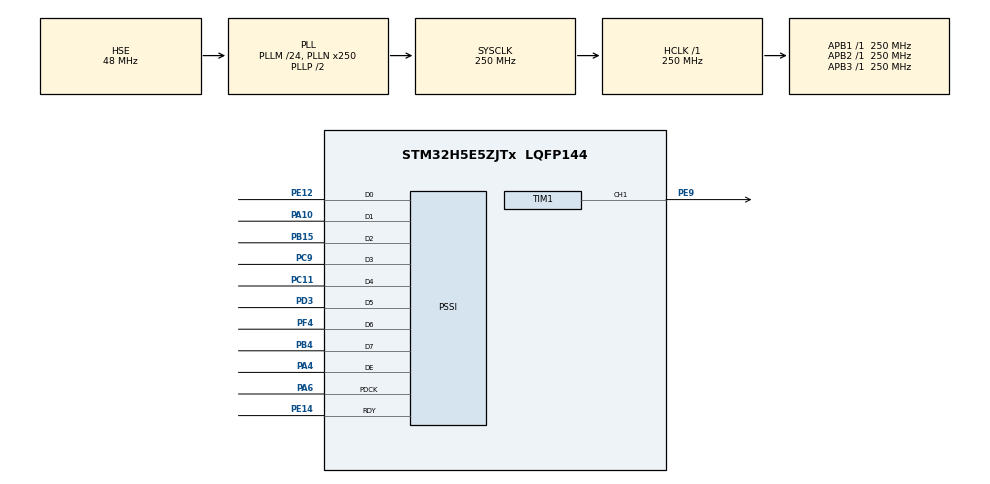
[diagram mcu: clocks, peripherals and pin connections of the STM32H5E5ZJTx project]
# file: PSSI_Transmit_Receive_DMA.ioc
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BOOTPATH.BootPathName=LEGACY
BOOTPATH.UserSelectedBootPath=LEGACY
CORTEX_M33_NS.userName=CORTEX_M33
GPDMA1.DESTDATAWIDTH_GPDMACH0=DMA_DEST_DATAWIDTH_WORD
GPDMA1.DESTDATAWIDTH_GPDMACH1=DMA_DEST_DATAWIDTH_WORD
GPDMA1.DESTINC_GPDMACH0=DMA_DINC_INCREMENTED
GPDMA1.DIRECTION_GPDMACH0=DMA_PERIPH_TO_MEMORY
GPDMA1.DIRECTION_GPDMACH1=DMA_MEMORY_TO_PERIPH
GPDMA1.IPHANDLE_GPDMACH0-SIMPLEREQUEST_GPDMACH0=__NULL
GPDMA1.IPHANDLE_GPDMACH1-SIMPLEREQUEST_GPDMACH1=__NULL
GPDMA1.PRIORITY_GPDMACH0=DMA_LOW_PRIORITY_HIGH_WEIGHT
GPDMA1.PRIORITY_GPDMACH1=DMA_LOW_PRIORITY_HIGH_WEIGHT
GPDMA1.REQUEST_GPDMACH0=GPDMA1_REQUEST_DCMI_PSSIRX
GPDMA1.REQUEST_GPDMACH1=GPDMA1_REQUEST_DCMI_PSSITX
GPDMA1.SRCDATAWIDTH_GPDMACH0=DMA_SRC_DATAWIDTH_WORD
GPDMA1.SRCDATAWIDTH_GPDMACH1=DMA_SRC_DATAWIDTH_WORD
GPDMA1.SRCINC_GPDMACH1=DMA_SINC_INCREMENTED
Mcu.Family=STM32H5
Mcu.Name=STM32H5E5ZJTx
Mcu.Package=LQFP144
NVIC.DCMI_PSSI_IRQn=true\:0\:0\:false\:false\:true\:true\:true\:true
NVIC.GPDMA1_Channel0_IRQn=true\:0\:0\:false\:false\:true\:false\:true\:true
NVIC.GPDMA1_Channel1_IRQn=true\:0\:0\:false\:false\:true\:true\:true\:true
NVIC.PriorityGroup=NVIC_PRIORITYGROUP_4
PA10.GPIO_PuPd=GPIO_PULLUP
PA10.GPIO_Speed=GPIO_SPEED_FREQ_VERY_HIGH
PA10.Mode=PSSI_8
PA10.Signal=PSSI_D1
PA4.GPIO_PuPd=GPIO_PULLUP
PA4.GPIO_Speed=GPIO_SPEED_FREQ_VERY_HIGH
PA4.Mode=PSSI_8
PA4.Signal=PSSI_DE
PA6.GPIO_PuPd=GPIO_NOPULL
PA6.GPIO_Speed=GPIO_SPEED_FREQ_VERY_HIGH
PA6.Mode=PSSI_8
PA6.Signal=PSSI_PDCK
PB15.GPIO_PuPd=GPIO_PULLUP
PB15.GPIO_Speed=GPIO_SPEED_FREQ_VERY_HIGH
PB15.Mode=PSSI_8
PB15.Signal=PSSI_D2
PB4\ (NJTRST).GPIO_PuPd=GPIO_PULLUP
PB4\ (NJTRST).GPIO_Speed=GPIO_SPEED_FREQ_VERY_HIGH
PB4\ (NJTRST).Mode=PSSI_8
PB4\ (NJTRST).Signal=PSSI_D7
PC11.GPIO_PuPd=GPIO_PULLUP
PC11.GPIO_Speed=GPIO_SPEED_FREQ_VERY_HIGH
PC11.Mode=PSSI_8
PC11.Signal=PSSI_D4
PC9.GPIO_PuPd=GPIO_PULLUP
PC9.GPIO_Speed=GPIO_SPEED_FREQ_VERY_HIGH
PC9.Mode=PSSI_8
PC9.Signal=PSSI_D3
PD3.GPIO_PuPd=GPIO_PULLUP
PD3.GPIO_Speed=GPIO_SPEED_FREQ_VERY_HIGH
PD3.Mode=PSSI_8
PD3.Signal=PSSI_D5
PE12.GPIO_PuPd=GPIO_PULLUP
PE12.GPIO_Speed=GPIO_SPEED_FREQ_VERY_HIGH
PE12.Mode=PSSI_8
PE12.Signal=PSSI_D0
PE14.GPIO_PuPd=GPIO_PULLUP
PE14.GPIO_Speed=GPIO_SPEED_FREQ_VERY_HIGH
PE14.Mode=PSSI_8
PE14.Signal=PSSI_RDY
PE9.GPIO_PuPd=GPIO_PULLUP
PE9.GPIO_Speed=GPIO_SPEED_FREQ_VERY_HIGH
PE9.Signal=S_TIM1_CH1
PF4.GPIO_PuPd=GPIO_PULLUP
PF4.GPIO_Speed=GPIO_SPEED_FREQ_VERY_HIGH
PF4.Mode=PSSI_8
PF4.Signal=PSSI_D6
PH0-OSC_IN(PH0).Mode=HSE-External-Oscillator
PH0-OSC_IN(PH0).Signal=RCC_OSC_IN
PH1-OSC_OUT(PH1).Mode=HSE-External-Oscillator
PH1-OSC_OUT(PH1).Signal=RCC_OSC_OUT
PSSI.BusWidth=HAL_PSSI_8LINES
PSSI.ControlSignal=HAL_PSSI_DE_ENABLE
PSSI.DataWidth=HAL_PSSI_32BITS
ProjectManager.HeapSize=0x200
ProjectManager.StackSize=0x400
ProjectManager.TargetToolchain=EWARM V9.20
RCC.ADCFreq_Value=250000000
RCC.AHBFreq_Value=250000000
RCC.APB1Freq_Value=250000000
RCC.APB1TimFreq_Value=250000000
RCC.APB2Freq_Value=250000000
RCC.APB2TimFreq_Value=250000000
RCC.APB3Freq_Value=250000000
RCC.CSI_VALUE=4000000
RCC.CortexFreq_Value=250000000
RCC.EPOD_VALUE=48000000
RCC.HCLKFreq_Value=250000000
RCC.HSE_VALUE=48000000
RCC.HSI48_VALUE=48000000
RCC.HSI_VALUE=64000000
RCC.LSE_VALUE=32768
RCC.LSIRC_VALUE=32000
RCC.PLLM=24
RCC.PLLN=250
RCC.PLLSourceVirtual=RCC_PLL1_SOURCE_HSE
RCC.SYSCLKFreq_VALUE=250000000
RCC.SYSCLKSource=RCC_SYSCLKSOURCE_PLLCLK
RCC.USBFreq_Value=258000000
RCC.VCOOutputFreq_Value=500000000
SH.S_TIM1_CH1.0=TIM1_CH1,PWM Generation1 CH1
TIM1.Channel-PWM\ Generation1\ CH1=TIM_CHANNEL_1
TIM1.PeriodNoDither=999
TIM1.Prescaler=11
TIM1.PulseNoDither_1=499
VP_BOOTPATH_VS_BOOTPATH.Mode=BP_Activate
VP_CORTEX_M33_NS_VS_Hclk.Mode=Hclk_Mode
VP_GPDMA1_VS_GPDMACH0.Mode=SIMPLEREQUEST_GPDMACH0
VP_GPDMA1_VS_GPDMACH1.Mode=SIMPLEREQUEST_GPDMACH1
VP_ICACHE_VS_ICACHE.Mode=DefaultMode
VP_PWR_VS_LPOM.Mode=PowerOptimisation
VP_PWR_VS_SECSignals.Mode=Security/Privilege
board=custom

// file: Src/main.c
/* USER CODE BEGIN Header */
/**
  ******************************************************************************
  * @file           : main.c
  * @brief          : Main program body
  ******************************************************************************
  * @attention
  *
  * Copyright (c) 2025 STMicroelectronics.
  * All rights reserved.
  *
  * This software is licensed under terms that can be found in the LICENSE file
  * in the root directory of this software component.
  * If no LICENSE file comes with this software, it is provided AS-IS.
  *
  ******************************************************************************
  */
/* USER CODE END Header */
#include "main.h"

/* USER CODE BEGIN Includes */
#include "string.h"
#include "stdio.h"
/* USER CODE END Includes */

/* USER CODE BEGIN PD */
//#define MASTER_BOARD
/* USER CODE END PD */

PSSI_HandleTypeDef hpssi;
DMA_HandleTypeDef handle_GPDMA1_Channel1;
DMA_HandleTypeDef handle_GPDMA1_Channel0;

TIM_HandleTypeDef htim1;

/* USER CODE BEGIN PV */

uint32_t Request_received = 0 ;
uint32_t data_cmp = 0 ;
uint32_t i;
__IO uint32_t PSSI_HAL_PSSI_TransmitComplete_count = 0;
__IO uint32_t PSSI_HAL_PSSI_ReceiveComplete_count = 0;
__IO uint32_t PSSI_HAL_PSSI_ErrorCallback_count = 0;

#ifndef MASTER_BOARD
char     pData8_S_TRSMT[64] ="Hello from Slave";  /* Data to transmit from Slave */
char     pData8_S_RCV[64];
#else
char     pData8_M_RCV[64];
char     pData8_M_TRSMT[64]; /* Data to transmit from Master */
#endif
/* USER CODE END PV */

void SystemClock_Config(void);
static void MX_GPIO_Init(void);
static void MX_GPDMA1_Init(void);
static void MX_ICACHE_Init(void);
static void MX_PSSI_Init(void);
static void MX_TIM1_Init(void);

/* USER CODE BEGIN 0 */
void HAL_PSSI_TxCpltCallback(PSSI_HandleTypeDef *hpssi);
void HAL_PSSI_RxCpltCallback(PSSI_HandleTypeDef *hpssi);
void HAL_PSSI_ErrorCallback(PSSI_HandleTypeDef *hpssi);
#ifdef MASTER_BOARD
static void CLK_On(void);
static void CLK_Off(void);
static uint32_t Fetch_Slave_Request(char Received_Buffer[64]);
#endif /*MASTER_BOARD*/
/* USER CODE END 0 */

int main(void)
{

  /* MCU Configuration--------------------------------------------------------*/

  /* Reset of all peripherals, Initializes the Flash interface and the Systick. */
  HAL_Init();

  /* Configure the system clock */
  SystemClock_Config();

  /* USER CODE BEGIN SysInit */
  BSP_LED_Init(LED_GREEN);
  BSP_LED_Init(LED_RED);
  BSP_LED_Init(LED_BLUE);
  /* USER CODE END SysInit */

  /* Initialize all configured peripherals */
  MX_GPIO_Init();
  MX_GPDMA1_Init();
  MX_ICACHE_Init();
  MX_PSSI_Init();
  MX_TIM1_Init();
  /* USER CODE BEGIN 2 */

#ifdef MASTER_BOARD

  CLK_On();
  /* Turn LED 1 ON: Receive is ongoing */
  BSP_LED_On(LED_GREEN);

  if(HAL_PSSI_Receive_DMA(&hpssi, (uint32_t*)pData8_M_RCV , sizeof(pData8_M_RCV))!= HAL_OK)
  {
    Error_Handler();
  }

  while(PSSI_HAL_PSSI_ReceiveComplete_count != 1)
  {
    /* wait until receiving data is complete */
  }

  if(Fetch_Slave_Request(pData8_M_RCV) != 1)
  {
    Error_Handler();
  }

  /* Turn LED 3 ON: Transmit is ongoing */
  BSP_LED_On(LED_BLUE);
  HAL_Delay(20);

  /* Start transmitting the received & modified data */
  if(HAL_PSSI_Transmit_DMA(&hpssi, (uint32_t*)pData8_M_TRSMT, sizeof(pData8_M_TRSMT))!= HAL_OK)
  {
    Error_Handler();
  }

  while(PSSI_HAL_PSSI_TransmitComplete_count != 1)
  {
    /* wait until transmit data is complete */
  }

  HAL_Delay(100);

  CLK_Off();

#else

  /*PSSI slave Part*/

  /* Turn LED 3 ON: Transmit is ongoing */
  BSP_LED_On(LED_BLUE);

  /* Start transmitting the data */
  if(HAL_PSSI_Transmit_DMA(&hpssi, (uint32_t*)(pData8_S_TRSMT), sizeof(pData8_S_TRSMT))!= HAL_OK)
  {
    Error_Handler();
  }

  while(PSSI_HAL_PSSI_TransmitComplete_count != 1)
  {
    /* wait until transmit data is complete */
  }

  /* Turn LED 1 ON: Receive is ongoing */
  BSP_LED_On(LED_GREEN);

  HAL_Delay(2);
  /* Start receiving the data */
  if(HAL_PSSI_Receive_DMA(&hpssi, (uint32_t*)(pData8_S_RCV), sizeof(pData8_S_RCV))!= HAL_OK)
  {
    Error_Handler();
  }

  while(PSSI_HAL_PSSI_ReceiveComplete_count != 1)
  {
    /* wait until receiving data is complete */
  }

  /*********************************************************************************************/

  /* Check first that the transmitted data is received */
  for(i = 0; i < strlen(pData8_S_TRSMT) ;i++)
  {
    if(pData8_S_TRSMT[i] != pData8_S_RCV[i])
    {
      data_cmp++;
      break;
    }
  }

  /*if OK , check then, that the Master has modified the transmitted data*/
  if((data_cmp == 0) && (strstr(pData8_S_RCV," Master") == 0))
  {
    Error_Handler();
  }
#endif
  /* USER CODE END 2 */

  /* Infinite loop */
  /* USER CODE BEGIN WHILE */
  while (1)
  {
    BSP_LED_Toggle(LED_GREEN);
    HAL_Delay(500);
    /* USER CODE END WHILE */

  }
}

void SystemClock_Config(void)
{
  RCC_OscInitTypeDef RCC_OscInitStruct = {0};
  RCC_ClkInitTypeDef RCC_ClkInitStruct = {0};

  /** Configure the main internal regulator output voltage
  */
  __HAL_PWR_VOLTAGESCALING_CONFIG(PWR_REGULATOR_VOLTAGE_SCALE0);

  while(!__HAL_PWR_GET_FLAG(PWR_FLAG_VOSRDY)) {}

  /** Initializes the RCC Oscillators according to the specified parameters
  * in the RCC_OscInitTypeDef structure.
  */
  RCC_OscInitStruct.OscillatorType = RCC_OSCILLATORTYPE_HSE;
  RCC_OscInitStruct.HSEState = RCC_HSE_ON;
  RCC_OscInitStruct.PLL.PLLState = RCC_PLL_ON;
  RCC_OscInitStruct.PLL.PLLSource = RCC_PLL1_SOURCE_HSE;
  RCC_OscInitStruct.PLL.PLLM = 24;
  RCC_OscInitStruct.PLL.PLLN = 250;
  RCC_OscInitStruct.PLL.PLLP = 2;
  RCC_OscInitStruct.PLL.PLLQ = 2;
  RCC_OscInitStruct.PLL.PLLR = 2;
  RCC_OscInitStruct.PLL.PLLRGE = RCC_PLL1_VCIRANGE_1;
  RCC_OscInitStruct.PLL.PLLVCOSEL = RCC_PLL1_VCORANGE_WIDE;
  RCC_OscInitStruct.PLL.PLLFRACN = 0;
  if (HAL_RCC_OscConfig(&RCC_OscInitStruct) != HAL_OK)
  {
    Error_Handler();
  }

  /** Initializes the CPU, AHB and APB buses clocks
  */
  RCC_ClkInitStruct.ClockType = RCC_CLOCKTYPE_HCLK|RCC_CLOCKTYPE_SYSCLK
                              |RCC_CLOCKTYPE_PCLK1|RCC_CLOCKTYPE_PCLK2
                              |RCC_CLOCKTYPE_PCLK3;
  RCC_ClkInitStruct.SYSCLKSource = RCC_SYSCLKSOURCE_PLLCLK;
  RCC_ClkInitStruct.AHBCLKDivider = RCC_SYSCLK_DIV1;
  RCC_ClkInitStruct.APB1CLKDivider = RCC_HCLK_DIV1;
  RCC_ClkInitStruct.APB2CLKDivider = RCC_HCLK_DIV1;
  RCC_ClkInitStruct.APB3CLKDivider = RCC_HCLK_DIV1;

  if (HAL_RCC_ClockConfig(&RCC_ClkInitStruct, FLASH_LATENCY_5) != HAL_OK)
  {
    Error_Handler();
  }

  /** Configure the programming delay
  */
  __HAL_FLASH_SET_PROGRAM_DELAY(FLASH_PROGRAMMING_DELAY_2);
}

static void MX_GPDMA1_Init(void)
{

  /* Peripheral clock enable */
  __HAL_RCC_GPDMA1_CLK_ENABLE();

  /* GPDMA1 interrupt Init */
    HAL_NVIC_SetPriority(GPDMA1_Channel0_IRQn, 0, 0);
    HAL_NVIC_EnableIRQ(GPDMA1_Channel0_IRQn);
    HAL_NVIC_SetPriority(GPDMA1_Channel1_IRQn, 0, 0);
    HAL_NVIC_EnableIRQ(GPDMA1_Channel1_IRQn);

}

static void MX_ICACHE_Init(void)
{

  /** Enable instruction cache (default 2-ways set associative cache)
  */
  if (HAL_ICACHE_Enable() != HAL_OK)
  {
    Error_Handler();
  }

}

static void MX_PSSI_Init(void)
{

  hpssi.Instance = PSSI;
  hpssi.Init.DataWidth = HAL_PSSI_32BITS;
  hpssi.Init.BusWidth = HAL_PSSI_8LINES;
  hpssi.Init.ControlSignal = HAL_PSSI_DE_ENABLE;
  hpssi.Init.ClockPolarity = HAL_PSSI_FALLING_EDGE;
  hpssi.Init.DataEnablePolarity = HAL_PSSI_DEPOL_ACTIVE_LOW;
  hpssi.Init.ReadyPolarity = HAL_PSSI_RDYPOL_ACTIVE_LOW;
  if (HAL_PSSI_Init(&hpssi) != HAL_OK)
  {
    Error_Handler();
  }

}

static void MX_TIM1_Init(void)
{

  TIM_MasterConfigTypeDef sMasterConfig = {0};
  TIM_OC_InitTypeDef sConfigOC = {0};
  TIM_BreakDeadTimeConfigTypeDef sBreakDeadTimeConfig = {0};

  htim1.Instance = TIM1;
  htim1.Init.Prescaler = 11;
  htim1.Init.CounterMode = TIM_COUNTERMODE_UP;
  htim1.Init.Period = 999;
  htim1.Init.ClockDivision = TIM_CLOCKDIVISION_DIV1;
  htim1.Init.RepetitionCounter = 0;
  htim1.Init.AutoReloadPreload = TIM_AUTORELOAD_PRELOAD_DISABLE;
  if (HAL_TIM_PWM_Init(&htim1) != HAL_OK)
  {
    Error_Handler();
  }
  sMasterConfig.MasterOutputTrigger = TIM_TRGO_RESET;
  sMasterConfig.MasterOutputTrigger2 = TIM_TRGO2_RESET;
  sMasterConfig.MasterSlaveMode = TIM_MASTERSLAVEMODE_DISABLE;
  if (HAL_TIMEx_MasterConfigSynchronization(&htim1, &sMasterConfig) != HAL_OK)
  {
    Error_Handler();
  }
  sConfigOC.OCMode = TIM_OCMODE_PWM1;
  sConfigOC.Pulse = 499;
  sConfigOC.OCPolarity = TIM_OCPOLARITY_HIGH;
  sConfigOC.OCNPolarity = TIM_OCNPOLARITY_HIGH;
  sConfigOC.OCFastMode = TIM_OCFAST_DISABLE;
  sConfigOC.OCIdleState = TIM_OCIDLESTATE_RESET;
  sConfigOC.OCNIdleState = TIM_OCNIDLESTATE_RESET;
  if (HAL_TIM_PWM_ConfigChannel(&htim1, &sConfigOC, TIM_CHANNEL_1) != HAL_OK)
  {
    Error_Handler();
  }
  sBreakDeadTimeConfig.OffStateRunMode = TIM_OSSR_DISABLE;
  sBreakDeadTimeConfig.OffStateIDLEMode = TIM_OSSI_DISABLE;
  sBreakDeadTimeConfig.LockLevel = TIM_LOCKLEVEL_OFF;
  sBreakDeadTimeConfig.DeadTime = 0;
  sBreakDeadTimeConfig.BreakState = TIM_BREAK_DISABLE;
  sBreakDeadTimeConfig.BreakPolarity = TIM_BREAKPOLARITY_HIGH;
  sBreakDeadTimeConfig.BreakFilter = 0;
  sBreakDeadTimeConfig.BreakAFMode = TIM_BREAK_AFMODE_INPUT;
  sBreakDeadTimeConfig.Break2State = TIM_BREAK2_DISABLE;
  sBreakDeadTimeConfig.Break2Polarity = TIM_BREAK2POLARITY_HIGH;
  sBreakDeadTimeConfig.Break2Filter = 0;
  sBreakDeadTimeConfig.Break2AFMode = TIM_BREAK_AFMODE_INPUT;
  sBreakDeadTimeConfig.AutomaticOutput = TIM_AUTOMATICOUTPUT_DISABLE;
  if (HAL_TIMEx_ConfigBreakDeadTime(&htim1, &sBreakDeadTimeConfig) != HAL_OK)
  {
    Error_Handler();
  }
  HAL_TIM_MspPostInit(&htim1);

}

static void MX_GPIO_Init(void)
{

  /* GPIO Ports Clock Enable */
  __HAL_RCC_GPIOH_CLK_ENABLE();

}

/* USER CODE BEGIN 4 */
#ifdef MASTER_BOARD
static void CLK_On(void)
{
  /*Start PWM signals generation #######################################*/
  /* Start channel 1 */
  if (HAL_TIM_PWM_Start(&htim1, TIM_CHANNEL_1) != HAL_OK)
  {
    /* PWM Generation Error */
    Error_Handler();
  }
}

static void CLK_Off(void)
{
  if (HAL_TIM_PWM_Stop(&htim1, TIM_CHANNEL_1) != HAL_OK)
  {
    /* PWM Generation Error */
    Error_Handler();
  }
}

uint32_t Fetch_Slave_Request(char Received_Buffer[64])
{
  uint32_t j;
  char REPLY[23] = ": received, from Master" ;

  if(strstr(Received_Buffer,"Slave") != 0)
  {
    for(i=0 ; i < strlen(Received_Buffer) ; i++)
    {
      pData8_M_TRSMT[i] = Received_Buffer[i];
    }

    for(j=0;j<strlen(REPLY);j++)
    {
      pData8_M_TRSMT[i] = REPLY[j];
      i++;
    }
    return 1;
  }
  else
  {
    return 0;
  }
}
#endif
/**
  * @brief PSSI transfer complete callback
  * @par hppsi: PSSI HAL handle
  * @retval None
  */
void HAL_PSSI_TxCpltCallback(PSSI_HandleTypeDef *hpssi)
{
  PSSI_HAL_PSSI_TransmitComplete_count++;
}
/**
  * @brief PSSI receive complete callback
  * @par hppsi: PSSI HAL handle
  * @retval None
  */
 void HAL_PSSI_RxCpltCallback(PSSI_HandleTypeDef *hpssi)
{
  PSSI_HAL_PSSI_ReceiveComplete_count++;
}

/**
  * @brief PSSI transfer error callback
  * @par hppsi: PSSI HAL handle
  * @retval None
  */
void HAL_PSSI_ErrorCallback(PSSI_HandleTypeDef *hpssi)
{
  PSSI_HAL_PSSI_ErrorCallback_count++;
}
/* USER CODE END 4 */

void Error_Handler(void)
{
  /* USER CODE BEGIN Error_Handler_Debug */
  /* User can add his own implementation to report the HAL error return state */
  __disable_irq();
  while (1)
  {
    BSP_LED_On(LED_RED);
  }
  /* USER CODE END Error_Handler_Debug */
}
